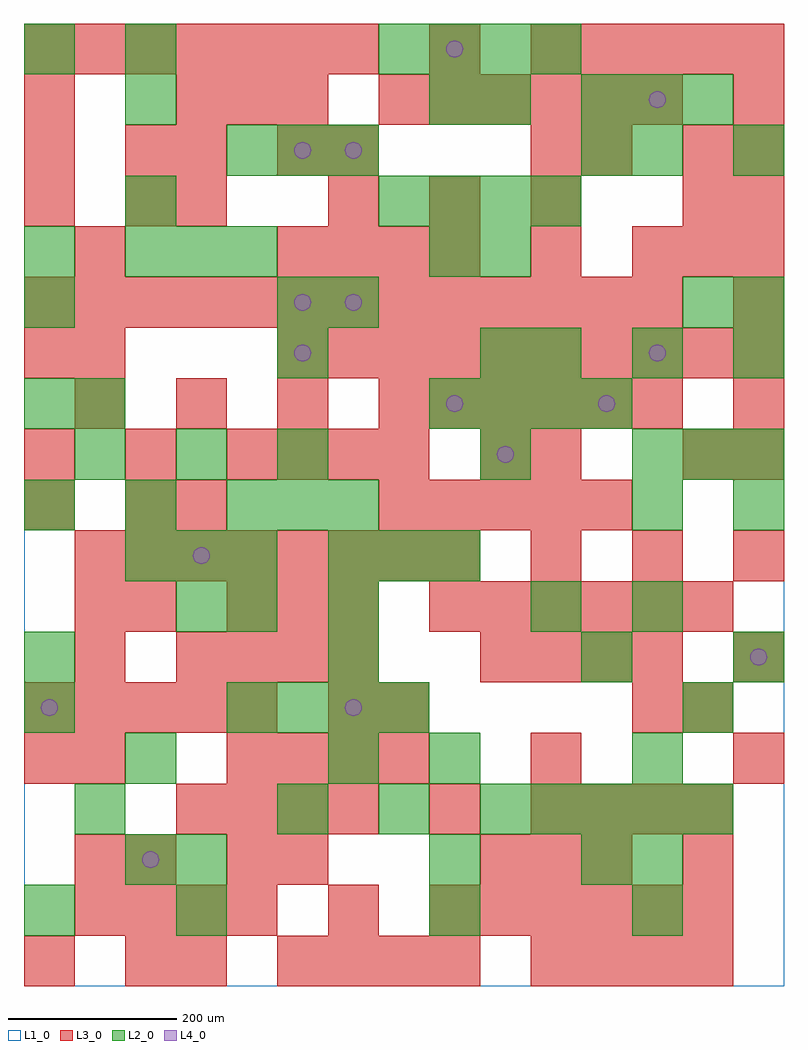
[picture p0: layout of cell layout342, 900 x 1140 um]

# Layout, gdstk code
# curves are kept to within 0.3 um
import gdstk
lib = gdstk.Library(unit=1e-6, precision=1e-09)
def R(c, l, rs):  # rectangles x0, y0, x1, y1
    for r in rs: c.add(gdstk.rectangle(r[:2], r[2:], *l))
def A(c, l, x, y, w, h, nx, ny, dx, dy):  # array of equal rectangles
    R(c, l, [(x+i*dx, y+j*dy, x+i*dx+w, y+j*dy+h) for i in range(nx) for j in range(ny)])
def P(c, l, *ps):  # polygons
    for p in ps: c.add(gdstk.Polygon(p, *l))
L1_0 = (1, 0)
L2_0 = (2, 0)
L3_0 = (3, 0)
L4_0 = (4, 0)

layout342 = lib.new_cell('layout342')
R(layout342, L1_0, [(0,0,900,1140)])
A(layout342, L2_0, 300, 180, 60, 60, 3, 1, 120, 0)
A(layout342, L2_0, 600, 180, 60, 60, 4, 1, 60, 0)
A(layout342, L2_0, 240, 300, 60, 60, 4, 1, 60, 0)
A(layout342, L2_0, 120, 480, 60, 60, 3, 2, 60, 360)
A(layout342, L2_0, 360, 480, 60, 60, 3, 1, 60, 0)
A(layout342, L2_0, 0, 540, 60, 60, 3, 1, 120, 0)
A(layout342, L2_0, 60, 600, 60, 60, 3, 1, 120, 0)
A(layout342, L2_0, 540, 600, 60, 60, 1, 3, 0, 120)
A(layout342, L2_0, 720, 600, 60, 60, 3, 1, 60, 0)
A(layout342, L2_0, 480, 660, 60, 60, 4, 1, 60, 0)
A(layout342, L2_0, 600, 720, 60, 60, 3, 1, 120, 0)
A(layout342, L2_0, 420, 900, 60, 60, 4, 2, 60, 180)
A(layout342, L2_0, 240, 960, 60, 60, 3, 1, 60, 0)
A(layout342, L2_0, 660, 1020, 60, 60, 3, 1, 60, 0)
R(layout342, L2_0, [(0,60,60,120), (180,60,240,120), (480,60,540,120), (720,60,780,120), (120,120,180,180), (180,120,240,180), (480,120,540,180), (660,120,720,180), (720,120,780,180), (60,180,120,240), (120,240,180,300), (360,240,420,300), (480,240,540,300), (720,240,780,300), (0,300,60,360), (780,300,840,360), (0,360,60,420), (360,360,420,420), (660,360,720,420), (840,360,900,420), (180,420,240,480), (240,420,300,480), (360,420,420,480), (600,420,660,480), (720,420,780,480), (300,540,360,600), (360,540,420,600), (720,540,780,600), (840,540,900,600), (0,660,60,720), (60,660,120,720), (300,720,360,780), (0,780,60,840), (300,780,360,840), (360,780,420,840), (780,780,840,840), (840,780,900,840), (0,840,60,900), (480,840,540,900), (120,900,180,960), (660,960,720,1020), (720,960,780,1020), (840,960,900,1020), (120,1020,180,1080), (480,1020,540,1080), (540,1020,600,1080), (0,1080,60,1140), (120,1080,180,1140)])
A(layout342, L3_0, 300, 0, 60, 60, 4, 2, 60, 840)
A(layout342, L3_0, 600, 0, 60, 60, 4, 2, 60, 180)
A(layout342, L3_0, 60, 60, 60, 60, 4, 1, 60, 0)
A(layout342, L3_0, 480, 60, 60, 60, 6, 2, 60, 360)
A(layout342, L3_0, 60, 120, 60, 60, 1, 3, 0, 120)
A(layout342, L3_0, 540, 120, 60, 60, 3, 1, 60, 0)
A(layout342, L3_0, 180, 180, 60, 60, 4, 2, 60, 180)
A(layout342, L3_0, 240, 240, 60, 60, 4, 1, 60, 0)
A(layout342, L3_0, 0, 300, 60, 60, 5, 1, 60, 0)
A(layout342, L3_0, 780, 300, 60, 60, 1, 3, 0, 300)
A(layout342, L3_0, 540, 360, 60, 60, 4, 1, 60, 0)
A(layout342, L3_0, 240, 420, 60, 60, 3, 1, 60, 0)
A(layout342, L3_0, 60, 480, 60, 60, 8, 1, 60, 0)
A(layout342, L3_0, 600, 480, 60, 60, 3, 1, 120, 0)
A(layout342, L3_0, 0, 540, 60, 60, 1, 3, 0, 180)
A(layout342, L3_0, 420, 540, 60, 60, 5, 1, 60, 0)
A(layout342, L3_0, 0, 600, 60, 60, 3, 1, 120, 0)
A(layout342, L3_0, 300, 600, 60, 60, 3, 1, 60, 0)
A(layout342, L3_0, 60, 660, 60, 60, 4, 1, 120, 0)
A(layout342, L3_0, 480, 660, 60, 60, 5, 1, 60, 0)
A(layout342, L3_0, 840, 660, 60, 60, 1, 3, 0, 120)
A(layout342, L3_0, 300, 720, 60, 60, 10, 1, 60, 0)
A(layout342, L3_0, 0, 780, 60, 60, 13, 1, 60, 0)
A(layout342, L3_0, 720, 840, 60, 60, 3, 1, 60, 0)
A(layout342, L3_0, 360, 900, 60, 60, 3, 1, 120, 0)
A(layout342, L3_0, 180, 1020, 60, 60, 3, 1, 60, 0)
A(layout342, L3_0, 420, 1020, 60, 60, 6, 1, 60, 0)
A(layout342, L3_0, 0, 1080, 60, 60, 7, 1, 60, 0)
A(layout342, L3_0, 600, 1080, 60, 60, 5, 1, 60, 0)
R(layout342, L3_0, [(0,0,60,60), (120,0,180,60), (180,0,240,60), (360,60,420,120), (120,120,180,180), (240,120,300,180), (300,120,360,180), (780,120,840,180), (480,180,540,240), (0,240,60,300), (600,240,660,300), (840,240,900,300), (360,300,420,360), (420,300,480,360), (720,300,780,360), (840,360,900,420), (60,420,120,480), (120,420,180,480), (120,540,180,600), (180,540,240,600), (540,600,600,660), (600,600,660,660), (840,600,900,660), (60,720,120,780), (60,840,120,900), (600,840,660,900), (120,900,180,960), (180,900,240,960), (0,960,60,1020), (120,960,180,1020), (180,960,240,1020), (300,960,360,1020), (360,960,420,1020), (600,960,660,1020), (660,960,720,1020), (780,960,840,1020), (840,960,900,1020), (0,1020,60,1080), (840,1020,900,1080), (480,1080,540,1140)])
P(layout342, L4_0, [(40,330),(39.239,333.827),(37.071,337.071),(33.827,339.239),(30,340),(26.173,339.239),(22.929,337.071),(20.761,333.827),(20,330),(20.761,326.173),(22.929,322.929),(26.173,320.761),(30,320),(33.827,320.761),(37.071,322.929),(39.239,326.173)],
  [(160,150),(159.239,153.827),(157.071,157.071),(153.827,159.239),(150,160),(146.173,159.239),(142.929,157.071),(140.761,153.827),(140,150),(140.761,146.173),(142.929,142.929),(146.173,140.761),(150,140),(153.827,140.761),(157.071,142.929),(159.239,146.173)],
  [(220,510),(219.239,513.827),(217.071,517.071),(213.827,519.239),(210,520),(206.173,519.239),(202.929,517.071),(200.761,513.827),(200,510),(200.761,506.173),(202.929,502.929),(206.173,500.761),(210,500),(213.827,500.761),(217.071,502.929),(219.239,506.173)],
  [(340,750),(339.239,753.827),(337.071,757.071),(333.827,759.239),(330,760),(326.173,759.239),(322.929,757.071),(320.761,753.827),(320,750),(320.761,746.173),(322.929,742.929),(326.173,740.761),(330,740),(333.827,740.761),(337.071,742.929),(339.239,746.173)],
  [(340,810),(339.239,813.827),(337.071,817.071),(333.827,819.239),(330,820),(326.173,819.239),(322.929,817.071),(320.761,813.827),(320,810),(320.761,806.173),(322.929,802.929),(326.173,800.761),(330,800),(333.827,800.761),(337.071,802.929),(339.239,806.173)],
  [(340,990),(339.239,993.827),(337.071,997.071),(333.827,999.239),(330,1000),(326.173,999.239),(322.929,997.071),(320.761,993.827),(320,990),(320.761,986.173),(322.929,982.929),(326.173,980.761),(330,980),(333.827,980.761),(337.071,982.929),(339.239,986.173)],
  [(400,330),(399.239,333.827),(397.071,337.071),(393.827,339.239),(390,340),(386.173,339.239),(382.929,337.071),(380.761,333.827),(380,330),(380.761,326.173),(382.929,322.929),(386.173,320.761),(390,320),(393.827,320.761),(397.071,322.929),(399.239,326.173)],
  [(400,810),(399.239,813.827),(397.071,817.071),(393.827,819.239),(390,820),(386.173,819.239),(382.929,817.071),(380.761,813.827),(380,810),(380.761,806.173),(382.929,802.929),(386.173,800.761),(390,800),(393.827,800.761),(397.071,802.929),(399.239,806.173)],
  [(400,990),(399.239,993.827),(397.071,997.071),(393.827,999.239),(390,1000),(386.173,999.239),(382.929,997.071),(380.761,993.827),(380,990),(380.761,986.173),(382.929,982.929),(386.173,980.761),(390,980),(393.827,980.761),(397.071,982.929),(399.239,986.173)],
  [(520,690),(519.239,693.827),(517.071,697.071),(513.827,699.239),(510,700),(506.173,699.239),(502.929,697.071),(500.761,693.827),(500,690),(500.761,686.173),(502.929,682.929),(506.173,680.761),(510,680),(513.827,680.761),(517.071,682.929),(519.239,686.173)],
  [(520,1110),(519.239,1113.827),(517.071,1117.071),(513.827,1119.239),(510,1120),(506.173,1119.239),(502.929,1117.071),(500.761,1113.827),(500,1110),(500.761,1106.173),(502.929,1102.929),(506.173,1100.761),(510,1100),(513.827,1100.761),(517.071,1102.929),(519.239,1106.173)],
  [(580,630),(579.239,633.827),(577.071,637.071),(573.827,639.239),(570,640),(566.173,639.239),(562.929,637.071),(560.761,633.827),(560,630),(560.761,626.173),(562.929,622.929),(566.173,620.761),(570,620),(573.827,620.761),(577.071,622.929),(579.239,626.173)],
  [(700,690),(699.239,693.827),(697.071,697.071),(693.827,699.239),(690,700),(686.173,699.239),(682.929,697.071),(680.761,693.827),(680,690),(680.761,686.173),(682.929,682.929),(686.173,680.761),(690,680),(693.827,680.761),(697.071,682.929),(699.239,686.173)],
  [(760,750),(759.239,753.827),(757.071,757.071),(753.827,759.239),(750,760),(746.173,759.239),(742.929,757.071),(740.761,753.827),(740,750),(740.761,746.173),(742.929,742.929),(746.173,740.761),(750,740),(753.827,740.761),(757.071,742.929),(759.239,746.173)],
  [(760,1050),(759.239,1053.827),(757.071,1057.071),(753.827,1059.239),(750,1060),(746.173,1059.239),(742.929,1057.071),(740.761,1053.827),(740,1050),(740.761,1046.173),(742.929,1042.929),(746.173,1040.761),(750,1040),(753.827,1040.761),(757.071,1042.929),(759.239,1046.173)],
  [(880,390),(879.239,393.827),(877.071,397.071),(873.827,399.239),(870,400),(866.173,399.239),(862.929,397.071),(860.761,393.827),(860,390),(860.761,386.173),(862.929,382.929),(866.173,380.761),(870,380),(873.827,380.761),(877.071,382.929),(879.239,386.173)])

lib.write_gds('layout342.gds')
